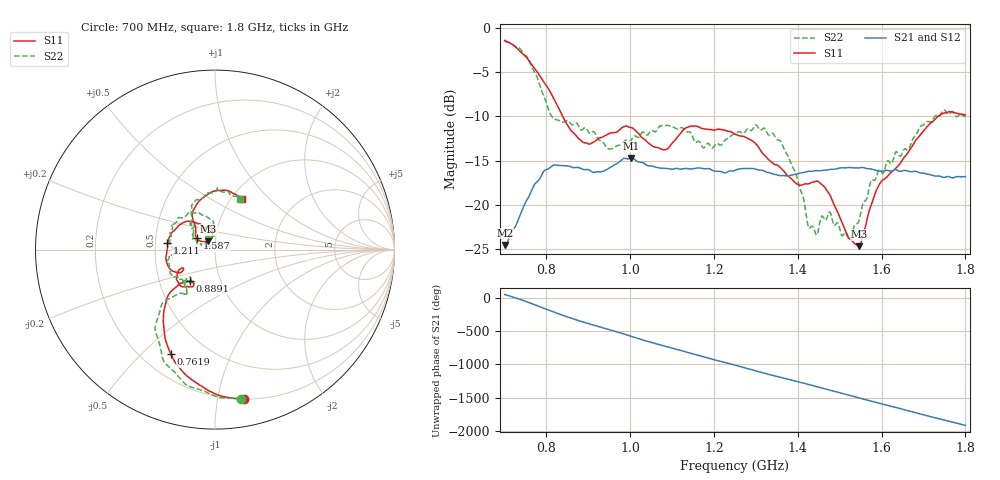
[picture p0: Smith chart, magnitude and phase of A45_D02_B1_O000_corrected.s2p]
! Created with skrf 1.9.0 (http://scikit-rf.org).
# Hz S RI R 50.0
!freq ReS11 ImS11 ReS21 ImS21 ReS12 ImS12 ReS22 ImS22
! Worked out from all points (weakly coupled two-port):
!   1601 points, 700 MHz to 1.8 GHz, reference 50 ohm
!   highest |S21| = -14.72 dB at 1.002 GHz (marker M1); lowest = -24.6 dB at 700.7 MHz (marker M2)
!   lowest |S11| = -24.7 dB at 1.547 GHz (marker M3), VSWR 1.12, Z = 46.3 + j4.23 ohm
!   |S11| at or under -10 dB: 838.7 MHz to 1.735 GHz (896 MHz wide, 69.6 % of centre)
!   |S22| runs from -23.9 to -1.5 dB; largest |S21 - S12| = 0.0034
!   S11 on the Smith chart (normalised r, x): 700 MHz: 0.20, -1.19; 761.9 MHz: 0.32, -0.62; 889.1 MHz: 0.72, -0.27; 1.211 GHz: 0.58, +0.05; 1.587 GHz: 0.81, +0.10; 1.8 GHz: 1.12, +0.71
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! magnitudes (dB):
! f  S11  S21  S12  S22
! 700 MHz  -1.4  -24.6  -24.3  -1.5
! 700.7 MHz  -1.4  -24.6  -24.3  -1.5
! 761.9 MHz  -4.0  -18.7  -18.6  -4.0
! 814.1 MHz  -7.7  -15.6  -15.6  -10.1
! 883.6 MHz  -12.8  -15.9  -15.8  -11.6
! 889.1 MHz  -13.0  -16.0  -15.9  -11.3
! 949.6 MHz  -11.9  -15.9  -15.9  -13.7
! 1.002 GHz  -11.3  -14.7  -14.8  -12.7
! 1.067 GHz  -13.6  -15.8  -15.8  -11.3
! 1.14 GHz  -11.2  -15.9  -15.9  -11.7
! 1.211 GHz  -11.5  -16.2  -16.2  -13.2
! 1.25 GHz  -12.0  -16.1  -16.0  -12.0
! 1.3 GHz  -13.1  -16.0  -16.0  -11.0
! 1.359 GHz  -15.8  -16.7  -16.7  -12.8
! 1.434 GHz  -17.5  -16.2  -16.2  -22.4
! 1.476 GHz  -18.8  -16.0  -16.0  -20.8
! 1.524 GHz  -23.9  -15.8  -15.8  -23.9
! 1.547 GHz  -24.7  -15.8  -15.8  -21.6
! 1.587 GHz  -18.4  -16.1  -16.1  -16.9
! 1.617 GHz  -16.6  -16.2  -16.1  -15.1
! 1.737 GHz  -9.9  -16.8  -16.8  -10.0
! 1.8 GHz  -9.9  -16.8  -16.8  -10.0
